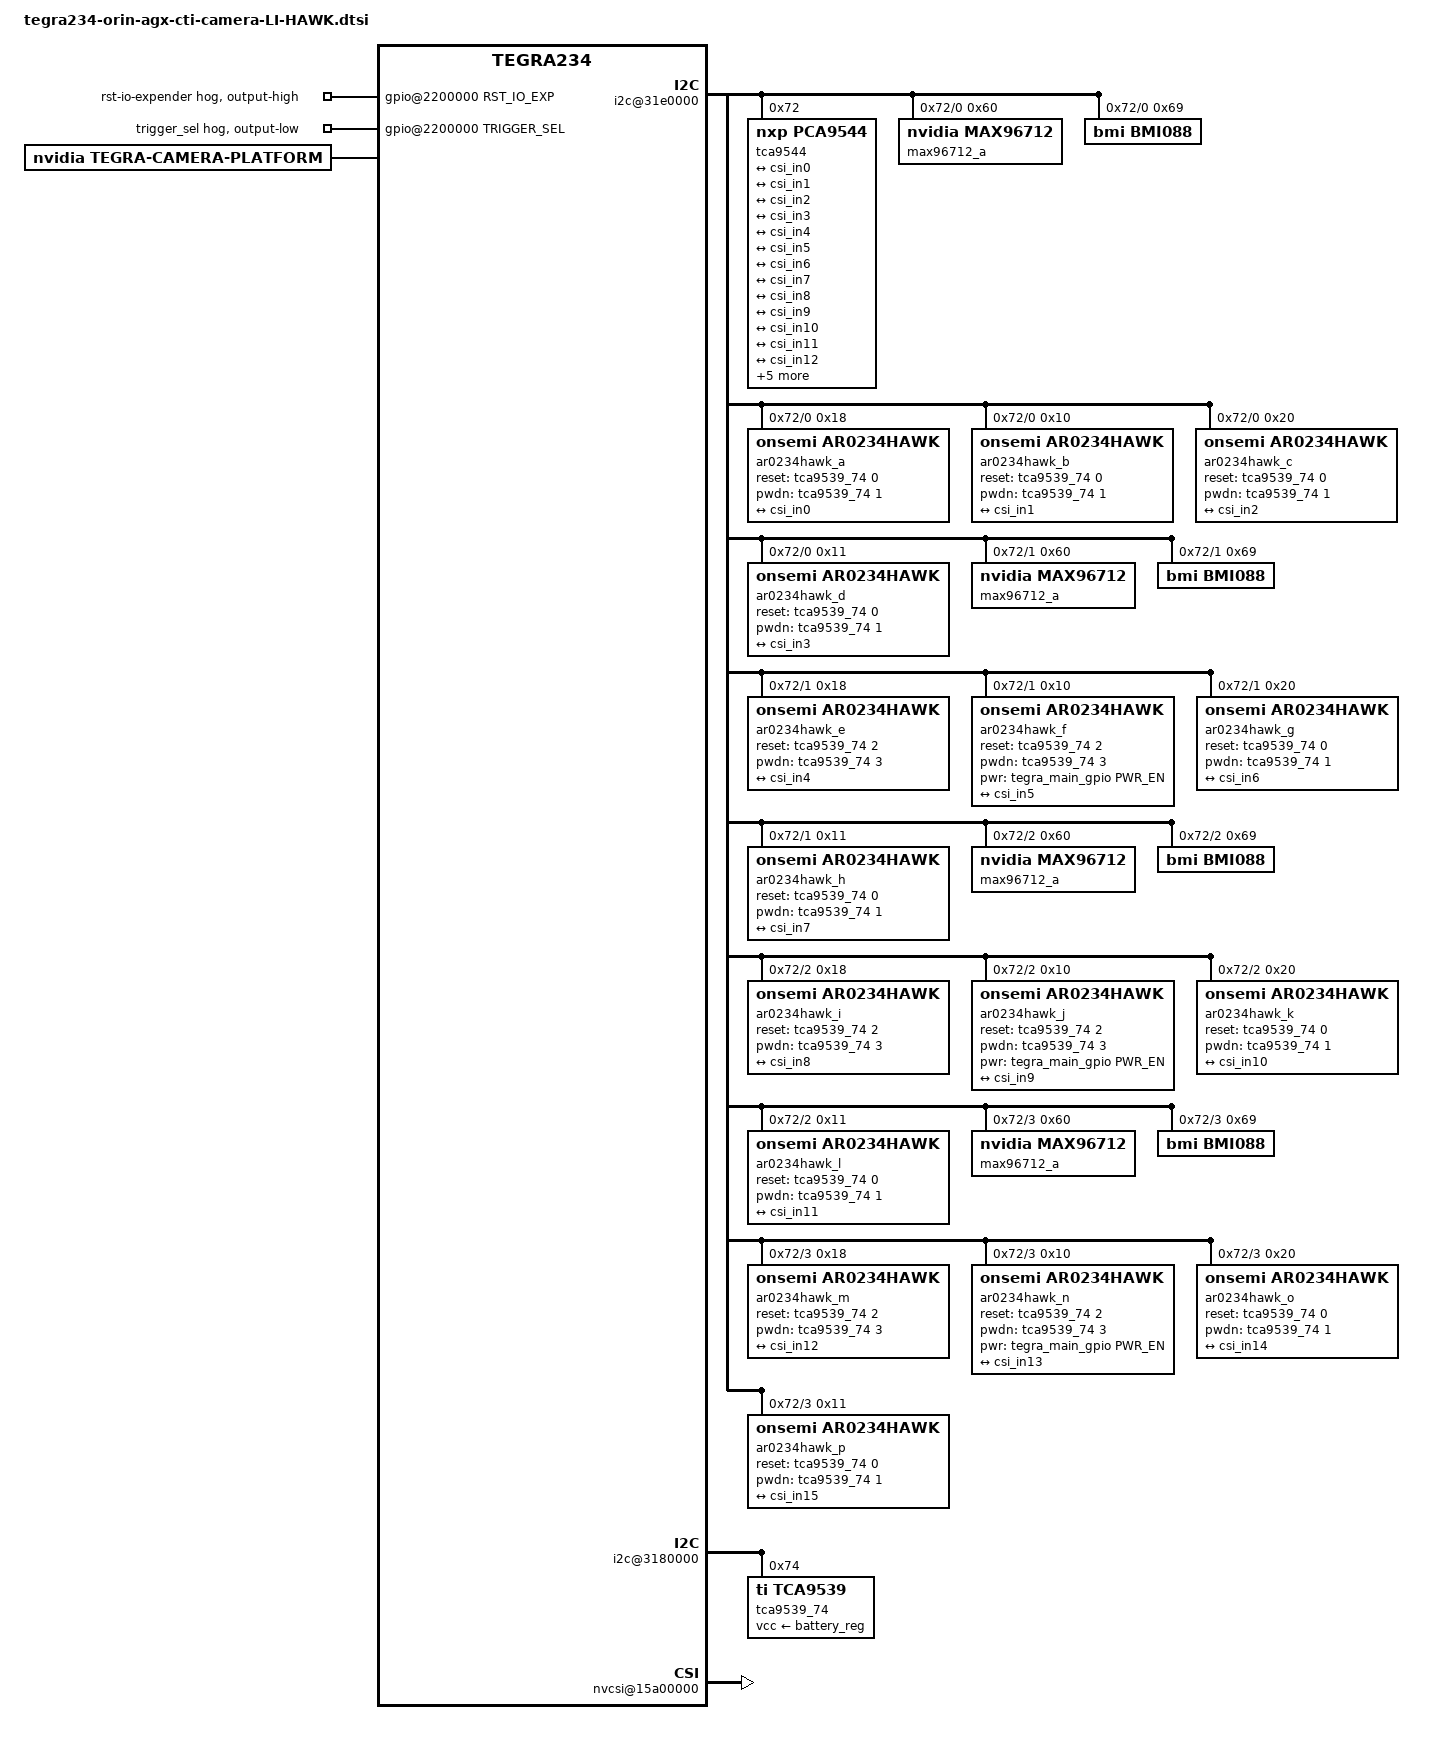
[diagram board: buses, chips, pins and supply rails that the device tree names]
/*
 * Copyright (c) 2022, Connect Tech Inc.  All rights reserved.
 *
 * This program is free software; you can redistribute it and/or modify it
 * under the terms and conditions of the GNU General Public License,
 * version 2, as published by the Free Software Foundation.
 *
 * This program is distributed in the hope it will be useful, but WITHOUT
 * ANY WARRANTY; without even the implied warranty of MERCHANTABILITY or
 * FITNESS FOR A PARTICULAR PURPOSE.  See the GNU General Public License for
 * more details.
 *
 * You should have received a copy of the GNU General Public License
 * along with this program.  If not, see <http://www.gnu.org/licenses/>.
 */

//#include "tegra234-orin-agx-cti-csi.dtsi"
#include "dt-bindings/clock/tegra234-clock.h"

#define RST_IO_EXP TEGRA234_MAIN_GPIO(AC,1)
#define PWM_CALIB_GPIO TEGRA234_MAIN_GPIO(H,7) //CAM0_PWDN
#define TRIGGER_SEL TEGRA234_MAIN_GPIO(I,0) //CAM0_RST
#define PWR_EN		TEGRA234_MAIN_GPIO(AC, 7)
#define CAM_LANES 4
#define CAM_LANES_STRING "4" 
#define TEGRA_SINTERFACE "serial_g"
#define MODE_VC "0"
#define SERDES_PIX_CLK_HZ "590000000"
#define PIX_CLK_HZ "90000000"
#include "tegra234-orin-agx-cti-camera-LI-HAWK-modes.dtsi"
//serdes_pix_clk_hz = "299000000"; //orig val

/ {

	gpio@2200000 {
		camera-control-output-high {
			status = "okay";
			gpio-hog;
			gpios = <RST_IO_EXP 0>;
			output-high;
			label = "rst-io-expender"; 
		};
		camera-control-output-low {
			status = "okay";
			gpio-hog;
			gpios = <TRIGGER_SEL 0>;
			output-low;
			label = "trigger_sel";
		};
	};

	

    i2c@31e0000 {
	status = "okay";
	#address-cells = <1>;
	#size-cells = <0>;
        tca9544@72 {
	    status = "okay";
	    compatible = "nxp,pca9544";
	    reg = <0x72>;
	    #address-cells = <1>;
	    #size-cells = <0>;
	    vcc-supply = <&vdd_1v8_sys>;
	    vcc-pullup-supply = <&battery_reg>;
	    vcc_lp = "vcc";
	    skip_mux_detect = "yes";
	    force_bus_start = <0x1e>;
            i2c@0 {
                status = "okay";
		reg = <0>;
		i2c-mux,deselect-on-exit;
		#address-cells = <1>;
		#size-cells = <0>;

		max96712_a@60 { //just needs to exist for the reg r/w
			compatible = "nvidia,max96712";
			reg = <0x60>;
			channel = "a";
			//status = "okay";
		};

		bmi088@69 {
			compatible = "bmi,bmi088";
			reg = <0x69>;
			status = "okay";
			accel_i2c_addr = <0x19>;
			accel_matrix = [01 00 00 00 01 00 00 00 01];
			gyro_matrix = [01 00 00 00 01 00 00 00 01];
		};
	
		ar0234hawk_a@18 {
			status = "okay";
			compatible = "onsemi,ar0234hawk";
			devnode = "video0";
			reg = <0x18>;
			def-addr = <0x18>;
			clocks = <&bpmp_clks TEGRA234_CLK_EXTPERIPH1>,<&bpmp_clks TEGRA234_CLK_EXTPERIPH1>;
			clock-names = "extperiph1", "pllp_grtba";
			mclk = "extperiph1";
			channel = "a";
			link = "a";
			has-eeprom;
			reset-gpios = <&tca9539_74 0 GPIO_ACTIVE_HIGH>;
			pwdn-gpios = <&tca9539_74 1 GPIO_ACTIVE_HIGH>;
            master-mode = <0>; //hardware trigger by default 0=trigger-mode 1=master-mode
			physical_w = "15.0";
			physical_h = "12.5";
			sensor_model = "ar0234hawk";
			sync_sensor = "HAWK1";
			sync_sensor_index = <1>;
			reg_mux = <0>;	
			post_crop_frame_drop = "0";
			use_sensor_mode_id = "true";
			LI_HAWK_10FPS		
				
			ports {
				#address-cells = <1>;
				#size-cells = <0>;
				port@0 {
					reg = <0>;
					cam_out0: endpoint {
						vc-id = <0>;
						port-index = <6>;
						bus-width = <CAM_LANES>;
						remote-endpoint = <&csi_in0>;
					};
				};
			};	

		};

		ar0234hawk_b@10 {
			compatible = "onsemi,ar0234hawk";
			devnode = "video1"; 
			reg = <0x10>;
			status = "okay";
			def-addr = <0x10>;
			clocks = <&bpmp_clks TEGRA234_CLK_EXTPERIPH1>,<&bpmp_clks TEGRA234_CLK_EXTPERIPH1>;
			clock-names = "extperiph1","pllp_grtba";
			mclk = "extperiph1";
			channel = "n";
			link = "a";
			has-eeprom;
			reset-gpios = <&tca9539_74 0 GPIO_ACTIVE_HIGH>;
			pwdn-gpios = <&tca9539_74 1 GPIO_ACTIVE_HIGH>;
			master-mode = <0>; //hardware trigger by default 0=trigger-mode 1=master-mode
            physical_w = "15.0";
			physical_h = "12.5";
			sensor_model = "ar0234hawk";
			sync_sensor = "HAWK1";
			sync_sensor_index = <2>;
			post_crop_frame_drop = "0";
			use_sensor_mode_id = "true";
//#undef TEGRA_SINTERFACE
//#define TEGRA_SINTERFACE "serial_g"
#undef MODE_VC
#define MODE_VC "1"
			LI_HAWK_10FPS	
		
			ports {
				#address-cells = <1>;
				#size-cells = <0>;
				port@0 {
					reg = <0>;
					cam_out1: endpoint {
						vc-id = <1>;
						port-index = <6>;
						bus-width = <CAM_LANES>;
						remote-endpoint = <&csi_in1>;
					};
				};
			};	
		};
	        ar0234hawk_c@20 {
			status = "okay";
			compatible = "onsemi,ar0234hawk";
			devnode = "video2";
			reg = <0x20>;
			def-addr = <0x20>;
			clocks = <&bpmp_clks TEGRA234_CLK_EXTPERIPH1>,<&bpmp_clks TEGRA234_CLK_EXTPERIPH1>;
			clock-names = "extperiph1", "pllp_grtba";
			mclk = "extperiph1";
			channel = "a";
			link = "b";
			//has-eeprom;
			reset-gpios = <&tca9539_74 0 GPIO_ACTIVE_HIGH>;
			pwdn-gpios = <&tca9539_74 1 GPIO_ACTIVE_HIGH>;
            master-mode = <0>; //hardware trigger by default 0=trigger-mode 1=master-mode
			physical_w = "15.0";
			physical_h = "12.5";
			sensor_model = "ar0234hawk";
			sync_sensor = "HAWK1";
			sync_sensor_index = <1>;
			reg_mux = <0>;	
			post_crop_frame_drop = "0";
			use_sensor_mode_id = "true";
#undef MODE_VC
#define MODE_VC "2"
			LI_HAWK_10FPS		
				
			ports {
				#address-cells = <1>;
				#size-cells = <0>;
				port@0 {
					reg = <0>;
					cam_out2: endpoint {
						vc-id = <2>;
						port-index = <6>;
						bus-width = <CAM_LANES>;
						remote-endpoint = <&csi_in2>;
					};
				};
			};	

		};

		ar0234hawk_d@11 {
			compatible = "onsemi,ar0234hawk";
			devnode = "video3"; 
			reg = <0x11>;
			status = "okay";
			def-addr = <0x11>;
			clocks = <&bpmp_clks TEGRA234_CLK_EXTPERIPH1>,<&bpmp_clks TEGRA234_CLK_EXTPERIPH1>;
			clock-names = "extperiph1","pllp_grtba";
			mclk = "extperiph1";
			channel = "n";
			link = "b";
			//has-eeprom;
			reset-gpios = <&tca9539_74 0 GPIO_ACTIVE_HIGH>;
			pwdn-gpios = <&tca9539_74 1 GPIO_ACTIVE_HIGH>;
			master-mode = <0>; //hardware trigger by default 0=trigger-mode 1=master-mode
            physical_w = "15.0";
			physical_h = "12.5";
			sensor_model = "ar0234hawk";
			sync_sensor = "HAWK1";
			sync_sensor_index = <1>;
			post_crop_frame_drop = "0";
			use_sensor_mode_id = "true";
//#undef TEGRA_SINTERFACE
//#define TEGRA_SINTERFACE "serial_g"
#undef MODE_VC
#define MODE_VC "3"
			LI_HAWK_10FPS	
		
			ports {
				#address-cells = <1>;
				#size-cells = <0>;
				port@0 {
					reg = <0>;
					cam_out3: endpoint {
						vc-id = <3>;
						port-index = <6>;
						bus-width = <CAM_LANES>;
						remote-endpoint = <&csi_in3>;
					};
				};
			};	
		};
            };

	    i2c@1 {
		status = "okay";
		reg = <1>;
		i2c-mux,deselect-on-exit;
		#address-cells = <1>;
		#size-cells = <0>;
		
		max96712_a@60 {
			compatible = "nvidia,max96712";
			reg = <0x60>;
			channel = "a";
			status = "okay";
		};


		bmi088@69 {
			compatible = "bmi,bmi088";
			reg = <0x69>;
			status = "okay";
			accel_i2c_addr = <0x19>;
			accel_matrix = [01 00 00 00 01 00 00 00 01];
			gyro_matrix = [01 00 00 00 01 00 00 00 01];
			//accelerometer_irq_gpio = //figure out later
		};
	
		ar0234hawk_e@18 {
			status = "okay";
			compatible = "onsemi,ar0234hawk";
			devnode = "video4";
			reg = <0x18>;
			reg_mux = <0>;
			def-addr = <0x18>;
			clocks = <&bpmp_clks TEGRA234_CLK_EXTPERIPH1>,<&bpmp_clks TEGRA234_CLK_EXTPERIPH1>;
			clock-names = "extperiph1", "pllp_grtba";
			mclk = "extperiph1";
			channel = "a";
			link = "a";
			has-eeprom;
			reset-gpios = <&tca9539_74 2 GPIO_ACTIVE_HIGH>;
			pwdn-gpios = <&tca9539_74 3 GPIO_ACTIVE_HIGH>;
            master-mode = <0>; //hardware trigger by default 0=trigger-mode 1=master-mode
			physical_w = "15.0";
			physical_h = "12.5";
			sensor_model = "ar0234hawk";
			sync_sensor = "HAWK1";
			sync_sensor_index = <1>;

			post_crop_frame_drop = "0";
			use_sensor_mode_id = "true";
#undef TEGRA_SINTERFACE
#define TEGRA_SINTERFACE "serial_e"
#undef MODE_VC
#define MODE_VC "0"	

			LI_HAWK_10FPS
	
			ports {
				#address-cells = <1>;
				#size-cells = <0>;
				port@0 {
					reg = <0>;
					cam_out4: endpoint {
						vc-id = <0>;
						port-index = <4>;
						bus-width = <CAM_LANES>;
						remote-endpoint = <&csi_in4>;
					};
				};
			};	

		};

		ar0234hawk_f@10 {
			compatible = "onsemi,ar0234hawk";
			devnode = "video5";
			reg = <0x10>;
			status = "okay";

			def-addr = <0x10>;
			clocks = <&bpmp_clks TEGRA234_CLK_EXTPERIPH1>,<&bpmp_clks TEGRA234_CLK_EXTPERIPH1>;
			clock-names = "extperiph1","pllp_grtba";
			mclk = "extperiph1";
			link = "a";
			channel = "n";
			has-eeprom;
			reset-gpios = <&tca9539_74 2 GPIO_ACTIVE_HIGH>;
			pwdn-gpios = <&tca9539_74 3 GPIO_ACTIVE_HIGH>;
            master-mode = <0>; //hardware trigger by default 0=trigger-mode 1=master-mode
			pwr-gpios = <&tegra_main_gpio PWR_EN GPIO_ACTIVE_HIGH>;
			physical_w = "15.0";
			physical_h = "12.5";
			sensor_model = "ar0234hawk";
			sync_sensor = "HAWK1";
			sync_sensor_index = <2>;
			post_crop_frame_drop = "0";
			use_sensor_mode_id = "true";
#undef MODE_VC
#define MODE_VC "1"
			LI_HAWK_10FPS
		
			ports {
				#address-cells = <1>;
				#size-cells = <0>;
				port@0 {
					reg = <0>;
					cam_out5: endpoint {
						vc-id = <1>;
						port-index = <4>;
						bus-width = <CAM_LANES>;
						remote-endpoint = <&csi_in5>;
					};
				};
			};	
		};
	        ar0234hawk_g@20 {
			status = "okay";
			compatible = "onsemi,ar0234hawk";
			devnode = "video6";
			reg = <0x20>;
			def-addr = <0x20>;
			clocks = <&bpmp_clks TEGRA234_CLK_EXTPERIPH1>,<&bpmp_clks TEGRA234_CLK_EXTPERIPH1>;
			clock-names = "extperiph1", "pllp_grtba";
			mclk = "extperiph1";
			channel = "a";
			link = "b";
			//has-eeprom;
			reset-gpios = <&tca9539_74 0 GPIO_ACTIVE_HIGH>;
			pwdn-gpios = <&tca9539_74 1 GPIO_ACTIVE_HIGH>;
            master-mode = <0>; //hardware trigger by default 0=trigger-mode 1=master-mode
			physical_w = "15.0";
			physical_h = "12.5";
			sensor_model = "ar0234hawk";
			sync_sensor = "HAWK1";
			sync_sensor_index = <1>;
			reg_mux = <0>;	
			post_crop_frame_drop = "0";
			use_sensor_mode_id = "true";
#undef MODE_VC
#define MODE_VC "2"
			LI_HAWK_10FPS		
				
			ports {
				#address-cells = <1>;
				#size-cells = <0>;
				port@0 {
					reg = <0>;
					cam_out6: endpoint {
						vc-id = <2>;
						port-index = <4>;
						bus-width = <CAM_LANES>;
						remote-endpoint = <&csi_in6>;
					};
				};
			};	

		};

		ar0234hawk_h@11 {
			compatible = "onsemi,ar0234hawk";
			devnode = "video7"; 
			reg = <0x11>;
			status = "okay";
			def-addr = <0x11>;
			clocks = <&bpmp_clks TEGRA234_CLK_EXTPERIPH1>,<&bpmp_clks TEGRA234_CLK_EXTPERIPH1>;
			clock-names = "extperiph1","pllp_grtba";
			mclk = "extperiph1";
			channel = "n";
			link = "b";
			//has-eeprom;
			reset-gpios = <&tca9539_74 0 GPIO_ACTIVE_HIGH>;
			pwdn-gpios = <&tca9539_74 1 GPIO_ACTIVE_HIGH>;
			//pwr-gpios = <&tegra_main_gpio PWR_EN GPIO_ACTIVE_HIGH>;
			physical_w = "15.0";
			physical_h = "12.5";
			sensor_model = "ar0234hawk";
			sync_sensor = "HAWK1";
			sync_sensor_index = <2>;
			post_crop_frame_drop = "0";
			use_sensor_mode_id = "true";
            master-mode = <0>; //hardware trigger by default 0=trigger-mode 1=master-mode
//#undef TEGRA_SINTERFACE
//#define TEGRA_SINTERFACE "serial_g"
#undef MODE_VC
#define MODE_VC "3"
			LI_HAWK_10FPS	
		
			ports {
				#address-cells = <1>;
				#size-cells = <0>;
				port@0 {
					reg = <0>;
					cam_out7: endpoint {
						vc-id = <3>;
						port-index = <4>;
						bus-width = <CAM_LANES>;
						remote-endpoint = <&csi_in7>;
					};
				};
			};	
		};
	    };


            i2c@2 {
                status = "okay";
                reg = <2>;
		i2c-mux,deselect-on-exit;
		#address-cells = <1>;
		#size-cells = <0>;
		
		max96712_a@60 {
			compatible = "nvidia,max96712";
			reg = <0x60>;
			channel = "a";
			status = "okay";
		};

		bmi088@69 {
			compatible = "bmi,bmi088";
			reg = <0x69>;
			status = "okay";
			accel_i2c_addr = <0x19>;
			accel_matrix = [01 00 00 00 01 00 00 00 01];
			gyro_matrix = [01 00 00 00 01 00 00 00 01];
			//accelerometer_irq_gpio = //figure out later
		};


		ar0234hawk_i@18 {
			status = "okay";
			compatible = "onsemi,ar0234hawk";
			devnode = "video8";
			reg = <0x18>;
			reg_mux = <0>;
			def-addr = <0x18>;
			clocks = <&bpmp_clks TEGRA234_CLK_EXTPERIPH1>,<&bpmp_clks TEGRA234_CLK_EXTPERIPH1>;
			clock-names = "extperiph1", "pllp_grtba";
			mclk = "extperiph1";
			channel = "a";
			link = "a";
			has-eeprom;
			reset-gpios = <&tca9539_74 2 GPIO_ACTIVE_HIGH>;
			pwdn-gpios = <&tca9539_74 3 GPIO_ACTIVE_HIGH>;
            master-mode = <0>; //hardware trigger by default 0=trigger-mode 1=master-mode

			physical_w = "15.0";
			physical_h = "12.5";
			sensor_model = "ar0234hawk";
			sync_sensor = "HAWK1";
			sync_sensor_index = <1>;

			post_crop_frame_drop = "0";
			use_sensor_mode_id = "true";
#undef TEGRA_SINTERFACE
#define TEGRA_SINTERFACE "serial_c"
#undef MODE_VC
#define MODE_VC "0"	

			LI_HAWK_10FPS
	
			ports {
				#address-cells = <1>;
				#size-cells = <0>;
				port@0 {
					reg = <0>;
					cam_out8: endpoint {
						vc-id = <0>;
						port-index = <2>;
						bus-width = <CAM_LANES>;
						remote-endpoint = <&csi_in8>;
					};
				};
			};	

		};

		ar0234hawk_j@10 {
			compatible = "onsemi,ar0234hawk";
			devnode = "video9";
			reg = <0x10>;
			status = "okay";

			def-addr = <0x10>;
			clocks = <&bpmp_clks TEGRA234_CLK_EXTPERIPH1>,<&bpmp_clks TEGRA234_CLK_EXTPERIPH1>;
			clock-names = "extperiph1","pllp_grtba";
			mclk = "extperiph1";
			link = "a";
			channel = "n";
			has-eeprom;
			reset-gpios = <&tca9539_74 2 GPIO_ACTIVE_HIGH>;
			pwdn-gpios = <&tca9539_74 3 GPIO_ACTIVE_HIGH>;
			pwr-gpios = <&tegra_main_gpio PWR_EN GPIO_ACTIVE_HIGH>;
            master-mode = <0>; //hardware trigger by default 0=trigger-mode 1=master-mode
			physical_w = "15.0";
			physical_h = "12.5";
			sensor_model = "ar0234hawk";
			sync_sensor = "HAWK1";
			sync_sensor_index = <2>;
			post_crop_frame_drop = "0";
			use_sensor_mode_id = "true";
#undef MODE_VC
#define MODE_VC "1"
			LI_HAWK_10FPS
		
			ports {
				#address-cells = <1>;
				#size-cells = <0>;
				port@0 {
					reg = <0>;
					cam_out9: endpoint {
						vc-id = <1>;
						port-index = <2>;
						bus-width = <CAM_LANES>;
						remote-endpoint = <&csi_in9>;
					};
				};
			};	
		};
	        ar0234hawk_k@20 {
			status = "okay";
			compatible = "onsemi,ar0234hawk";
			devnode = "video10";
			reg = <0x20>;
			def-addr = <0x20>;
			clocks = <&bpmp_clks TEGRA234_CLK_EXTPERIPH1>,<&bpmp_clks TEGRA234_CLK_EXTPERIPH1>;
			clock-names = "extperiph1", "pllp_grtba";
			mclk = "extperiph1";
			channel = "a";
			link = "b";
			//has-eeprom;
			reset-gpios = <&tca9539_74 0 GPIO_ACTIVE_HIGH>;
			pwdn-gpios = <&tca9539_74 1 GPIO_ACTIVE_HIGH>;
            master-mode = <0>; //hardware trigger by default 0=trigger-mode 1=master-mode

			physical_w = "15.0";
			physical_h = "12.5";
			sensor_model = "ar0234hawk";
			sync_sensor = "HAWK1";
			sync_sensor_index = <1>;
			reg_mux = <0>;	
			post_crop_frame_drop = "0";
			use_sensor_mode_id = "true";
#undef MODE_VC
#define MODE_VC "2"
			LI_HAWK_10FPS		
				
			ports {
				#address-cells = <1>;
				#size-cells = <0>;
				port@0 {
					reg = <0>;
					cam_out10: endpoint {
						vc-id = <2>;
						port-index = <2>;
						bus-width = <CAM_LANES>;
						remote-endpoint = <&csi_in10>;
					};
				};
			};	

		};

		ar0234hawk_l@11 {
			compatible = "onsemi,ar0234hawk";
			devnode = "video11"; 
			reg = <0x11>;
			status = "okay";
			def-addr = <0x11>;
			clocks = <&bpmp_clks TEGRA234_CLK_EXTPERIPH1>,<&bpmp_clks TEGRA234_CLK_EXTPERIPH1>;
			clock-names = "extperiph1","pllp_grtba";
			mclk = "extperiph1";
			channel = "n";
			link = "b";
			//has-eeprom;
			reset-gpios = <&tca9539_74 0 GPIO_ACTIVE_HIGH>;
			pwdn-gpios = <&tca9539_74 1 GPIO_ACTIVE_HIGH>;
			//pwr-gpios = <&tegra_main_gpio PWR_EN GPIO_ACTIVE_HIGH>;
            master-mode = <0>; //hardware trigger by default 0=trigger-mode 1=master-mode
			physical_w = "15.0";
			physical_h = "12.5";
			sensor_model = "ar0234hawk";
			sync_sensor = "HAWK1";
			sync_sensor_index = <2>;
			post_crop_frame_drop = "0";
			use_sensor_mode_id = "true";
//#undef TEGRA_SINTERFACE
//#define TEGRA_SINTERFACE "serial_g"
#undef MODE_VC
#define MODE_VC "3"
			LI_HAWK_10FPS	
		
			ports {
				#address-cells = <1>;
				#size-cells = <0>;
				port@0 {
					reg = <0>;
					cam_out11: endpoint {
						vc-id = <3>;
						port-index = <2>;
						bus-width = <CAM_LANES>;
						remote-endpoint = <&csi_in11>;
					};
				};
			};	
		};
            };
                
            i2c@3 {
                status = "okay";
		reg = <3>;
		i2c-mux,deselect-on-exit;
		#address-cells = <1>;
		#size-cells = <0>;
				

		max96712_a@60 {
			compatible = "nvidia,max96712";
			reg = <0x60>;
			channel = "a";
			status = "okay";
		};


		bmi088@69 {
			compatible = "bmi,bmi088";
			reg = <0x69>;
			status = "okay";
			accel_i2c_addr = <0x19>;
			accel_matrix = [01 00 00 00 01 00 00 00 01];
			gyro_matrix = [01 00 00 00 01 00 00 00 01];
			//accelerometer_irq_gpio = //figure out later
		};
		ar0234hawk_m@18 {
			status = "okay";
			compatible = "onsemi,ar0234hawk";
			devnode = "video12";
			reg = <0x18>;
			reg_mux = <0>;
			def-addr = <0x18>;
			clocks = <&bpmp_clks TEGRA234_CLK_EXTPERIPH1>,<&bpmp_clks TEGRA234_CLK_EXTPERIPH1>;
			clock-names = "extperiph1", "pllp_grtba";
			mclk = "extperiph1";
			channel = "a";
			link = "a";
			has-eeprom;
			reset-gpios = <&tca9539_74 2 GPIO_ACTIVE_HIGH>;
			pwdn-gpios = <&tca9539_74 3 GPIO_ACTIVE_HIGH>;
            master-mode = <0>; //hardware trigger by default 0=trigger-mode 1=master-mode

			physical_w = "15.0";
			physical_h = "12.5";
			sensor_model = "ar0234hawk";
			sync_sensor = "HAWK1";
			sync_sensor_index = <1>;

			post_crop_frame_drop = "0";
			use_sensor_mode_id = "true";
#undef TEGRA_SINTERFACE
#define TEGRA_SINTERFACE "serial_a"
#undef MODE_VC
#define MODE_VC "0"	

			LI_HAWK_10FPS
	
			ports {
				#address-cells = <1>;
				#size-cells = <0>;
				port@0 {
					reg = <0>;
					cam_out12: endpoint {
						vc-id = <0>;
						port-index = <0>;
						bus-width = <CAM_LANES>;
						remote-endpoint = <&csi_in12>;
					};
				};
			};	

		};

		ar0234hawk_n@10 {
			compatible = "onsemi,ar0234hawk";
			devnode = "video13";
			reg = <0x10>;
			status = "okay";

			def-addr = <0x10>;
			clocks = <&bpmp_clks TEGRA234_CLK_EXTPERIPH1>,<&bpmp_clks TEGRA234_CLK_EXTPERIPH1>;
			clock-names = "extperiph1","pllp_grtba";
			mclk = "extperiph1";
			link = "a";
			channel = "n";
			has-eeprom;
            master-mode = <0>; //hardware trigger by default 0=trigger-mode 1=master-mode
			reset-gpios = <&tca9539_74 2 GPIO_ACTIVE_HIGH>;
			pwdn-gpios = <&tca9539_74 3 GPIO_ACTIVE_HIGH>;
			pwr-gpios = <&tegra_main_gpio PWR_EN GPIO_ACTIVE_HIGH>;
			physical_w = "15.0";
			physical_h = "12.5";
			sensor_model = "ar0234hawk";
			sync_sensor = "HAWK1";
			sync_sensor_index = <2>;
			post_crop_frame_drop = "0";
			use_sensor_mode_id = "true";
#undef MODE_VC
#define MODE_VC "1"
			LI_HAWK_10FPS
		
			ports {
				#address-cells = <1>;
				#size-cells = <0>;
				port@0 {
					reg = <0>;
					cam_out13: endpoint {
						vc-id = <1>;
						port-index = <0>;
						bus-width = <CAM_LANES>;
						remote-endpoint = <&csi_in13>;
					};
				};
			};	
		};
	
		ar0234hawk_o@20 {
			status = "okay";
			compatible = "onsemi,ar0234hawk";
			devnode = "video14";
			reg = <0x20>;
			def-addr = <0x20>;
			clocks = <&bpmp_clks TEGRA234_CLK_EXTPERIPH1>,<&bpmp_clks TEGRA234_CLK_EXTPERIPH1>;
			clock-names = "extperiph1", "pllp_grtba";
			mclk = "extperiph1";
			channel = "a";
			link = "b";
			//has-eeprom;
			reset-gpios = <&tca9539_74 0 GPIO_ACTIVE_HIGH>;
			pwdn-gpios = <&tca9539_74 1 GPIO_ACTIVE_HIGH>;
            master-mode = <0>; //hardware trigger by default 0=trigger-mode 1=master-mode

			physical_w = "15.0";
			physical_h = "12.5";
			sensor_model = "ar0234hawk";
			sync_sensor = "HAWK1";
			sync_sensor_index = <1>;
			reg_mux = <0>;	
			post_crop_frame_drop = "0";
			use_sensor_mode_id = "true";
#undef MODE_VC
#define MODE_VC "2"
			LI_HAWK_10FPS		
				
			ports {
				#address-cells = <1>;
				#size-cells = <0>;
				port@0 {
					reg = <0>;
					cam_out14: endpoint {
						vc-id = <2>;
						port-index = <0>;
						bus-width = <CAM_LANES>;
						remote-endpoint = <&csi_in14>;
					};
				};
			};	

		};

		ar0234hawk_p@11 {
			compatible = "onsemi,ar0234hawk";
			devnode = "video15"; 
			reg = <0x11>;
			status = "okay";
			def-addr = <0x11>;
			clocks = <&bpmp_clks TEGRA234_CLK_EXTPERIPH1>,<&bpmp_clks TEGRA234_CLK_EXTPERIPH1>;
			clock-names = "extperiph1","pllp_grtba";
			mclk = "extperiph1";
			channel = "n";
			link = "b";
			//has-eeprom;
			reset-gpios = <&tca9539_74 0 GPIO_ACTIVE_HIGH>;
			pwdn-gpios = <&tca9539_74 1 GPIO_ACTIVE_HIGH>;
            master-mode = <0>; //hardware trigger by default 0=trigger-mode 1=master-mode
			//pwr-gpios = <&tegra_main_gpio PWR_EN GPIO_ACTIVE_HIGH>;
			physical_w = "15.0";
			physical_h = "12.5";
			sensor_model = "ar0234hawk";
			sync_sensor = "HAWK1";
			sync_sensor_index = <2>;
			post_crop_frame_drop = "0";
			use_sensor_mode_id = "true";
//#undef TEGRA_SINTERFACE
//#define TEGRA_SINTERFACE "serial_g"
#undef MODE_VC
#define MODE_VC "3"
			LI_HAWK_10FPS	
		
			ports {
				#address-cells = <1>;
				#size-cells = <0>;
				port@0 {
					reg = <0>;
					cam_out15: endpoint {
						vc-id = <3>;
						port-index = <0>;
						bus-width = <CAM_LANES>;
						remote-endpoint = <&csi_in15>;
					};
				};
			};	
		};
	
            };
        };
    };

    i2c@3180000 {
		status = "okay";
		#address-cells = <1>;
		#size-cells = <0>;
		tca9539_74: tca9539@74 {
			compatible = "ti,tca9539";
			gpio-controller;
			#gpio-cells = <2>;
			ngpios = <16>;
			reg = <0x74>;
			vcc-supply = <&battery_reg>;
			status = "okay";
			
			tca9539_74_outlow {
				status = "okay";
				gpio-hog;
				gpios = <0 0 1 0 2 0 3 0 4 0 5 0 6 0 7 0 8 0 9 0 10 0 11 0 12 0 13 0>;
				output-low;
				label = "RST_A","PWDN_A","RST_B","PWDN_B","RST_C","PWDN_C","RST_D","PWDN_D";
			};
			tca9539_74_outhigh {
				status = "disabled";
			};
			tca9539_74_input {
				status = "disabled";
			};
		};
	};
    tegra-capture-vi {
        status = "okay";
        num-channels = <16>;
        ports {
	    #address-cells = <1>;
	    #size-cells = <0>;
	    status = "okay";
            port@0 {
		reg = <0>;
                status = "okay";
                vi_in0: endpoint {
		    vc-id = <0>;
                    port-index = <5>;
                    status = "okay";
                    bus-width = <CAM_LANES>;
		    remote-endpoint = <&csi_out0>;
                };
            };
            port@1 {
                status = "okay";
		reg = <1>;
                vi_in1: endpoint {
		    vc-id = <1>;
                    port-index = <5>;
                    status = "okay";
                    bus-width = <CAM_LANES>;
		    remote-endpoint = <&csi_out1>;
                };
            };
	    port@2 {
		status = "okay";
		reg = <2>;
		vi_in2: endpoint {
			vc-id = <2>;
			port-index = <5>;
			bus-width = <CAM_LANES>;
			remote-endpoint = <&csi_out2>;
			status = "okay";
		};
	    };
	    port@3{
		status = "okay";
		reg = <3>;
		vi_in3: endpoint {
			vc-id = <3>;
			port-index = <5>;
			bus-width = <CAM_LANES>;
			remote-endpoint = <&csi_out3>;
			status = "okay";
		};
	    };
	    port@4 {
		status = "okay";
		reg = <4>;
		vi_in4: endpoint {
			vc-id = <0>;
			port-index = <4>;
			bus-width = <CAM_LANES>;
			remote-endpoint = <&csi_out4>;
			status = "okay";
		};
	    };
	    port@5 {
		status = "okay";
		reg = <5>;
		vi_in5: endpoint {
			vc-id = <1>;
			port-index = <4>;
			bus-width = <CAM_LANES>;
			remote-endpoint = <&csi_out5>;
			status = "okay";
		};
	    };
            port@6 {
                status = "okay";
		reg = <6>;
                vi_in6: endpoint {
                    port-index = <4>;
                    status = "okay";
                    bus-width = <CAM_LANES>;
		    vc-id = <2>;
		    remote-endpoint = <&csi_out6>;
                };
            };
            port@7 {
                status = "okay";
		reg = <7>;
                vi_in7: endpoint {
                    port-index = <4>;
                    status = "okay";
                    bus-width = <CAM_LANES>;
		    vc-id = <3>;
		    remote-endpoint = <&csi_out7>;
                };
            };
	    port@8 {
		status = "okay";
		reg = <8>;
		vi_in8: endpoint {
			vc-id = <0>;
			port-index = <2>;
			bus-width = <CAM_LANES>;
			remote-endpoint = <&csi_out8>;
			status = "okay";
		};
	    };
	    port@9 {
		status = "okay";
		reg = <9>;
		vi_in9: endpoint {
			vc-id = <1>;
			port-index = <2>;
			bus-width = <CAM_LANES>;
			remote-endpoint = <&csi_out9>;
			status = "okay";
		};
	    };
            port@10 {
                status = "okay";
		reg = <10>;
                vi_in10: endpoint {
                    port-index = <2>;
                    status = "okay";
                    bus-width = <CAM_LANES>;
		    vc-id = <2>;
		    remote-endpoint = <&csi_out10>;
                };
            };
            port@11 {
                status = "okay";
		reg = <11>;
                vi_in11: endpoint {
                    port-index = <2>;
                    status = "okay";
                    bus-width = <CAM_LANES>;
		    vc-id = <3>;
		    remote-endpoint = <&csi_out11>;
                };
            };
	    port@12 {
		status = "okay";
		reg = <12>;
		vi_in12: endpoint {
			vc-id = <0>;
			port-index = <0>;
			bus-width = <CAM_LANES>;
			remote-endpoint = <&csi_out12>;
			status = "okay";
		};
	    };
	    port@13 {
		status = "okay";
		reg = <13>;
		vi_in13: endpoint {
			vc-id = <1>;
			port-index = <0>;
			bus-width = <CAM_LANES>;
			remote-endpoint = <&csi_out13>;
			status = "okay";
		};
	    };
            port@14 {
                status = "okay";
		reg = <14>;
                vi_in14: endpoint {
                    port-index = <0>;
                    status = "okay";
                    bus-width = <CAM_LANES>;
		    vc-id = <2>;
		    remote-endpoint = <&csi_out14>;
                };
            };
            port@15 {
                status = "okay";
		reg = <15>;
                vi_in15: endpoint {
                    port-index = <0>;
                    status = "okay";
                    bus-width = <CAM_LANES>;
		    vc-id = <3>;
		    remote-endpoint = <&csi_out15>;
                };
            };
        };
    };

    host1x@13e00000 {
        nvcsi@15a00000 {
	    num-channels = <16>;
	    #address-cells = <1>;
	    #size-cells = <0>;
            status = "okay";
            channel@0 {
                status = "okay";
		reg = <0>;
                ports {
		    #address-cells = <1>;
		    #size-cells = <0>;
                    port@0 {
                        status = "okay";
			reg = <0>;
                        csi_in0: endpoint@0 {
                            status = "okay";
                            port-index = <6>;
			    vc-id = <0>;
			    bus-width = <CAM_LANES>;
                            remote-endpoint = <&cam_out0>;
                        };
                    };
                    port@1 {
                        status = "okay";
			reg = <1>;
                        csi_out0: endpoint@1 {
                            status = "okay";
			    port-index = <6>;
			    vc-id = <0>;
			    bus-width = <CAM_LANES>;
			    remote-endpoint = <&vi_in0>;
                        };
                    };
                };
            };
            channel@1 {
                status = "okay";
		reg = <1>;
                ports {
		    #address-cells = <1>;
		    #size-cells = <0>;
                    
		    port@0 {
			reg = <0>;
                        status = "okay";
                        csi_in1: endpoint@2 {
                            status = "okay";
			    port-index = <6>;
			    vc-id = <1>;
                            bus-width = <CAM_LANES>;
                            remote-endpoint = <&cam_out1>;
                        };
                    };
                    port@1 {
                        status = "okay";
			reg = <1>;
                        csi_out1: endpoint@3 {
                            status = "okay";
			    port-index = <6>;
			    vc-id = <1>;
			    bus-width = <CAM_LANES>;
			    remote-endpoint = <&vi_in1>;
                        };
                    };
                };
            };
	    channel@2 {
                status = "okay";
		reg = <2>;
                ports {
		    #address-cells = <1>;
		    #size-cells = <0>;
                    port@0 {
                        status = "okay";
			reg = <0>;
                        csi_in2: endpoint@4 {
                            status = "okay";
                            port-index = <6>;
			    bus-width = <CAM_LANES>;
                            remote-endpoint = <&cam_out2>;
                        };
                    };
                    port@1 {
                        status = "okay";
			reg = <1>;
                        csi_out2: endpoint@5 {
                            status = "okay";
			    port-index = <6>;
			    bus-width = <CAM_LANES>;
			    remote-endpoint = <&vi_in2>;
                        };
                    };
                };
            };
            channel@3 {
                status = "okay";
		reg = <3>;
                ports {
		    #address-cells = <1>;
		    #size-cells = <0>;
                    
		    port@0 {
			reg = <0>;
                        status = "okay";
                        csi_in3: endpoint@6 {
                            status = "okay";
			    port-index = <6>;
                            bus-width = <CAM_LANES>;
                            remote-endpoint = <&cam_out3>;
                        };
                    };
                    port@1 {
                        status = "okay";
			reg = <1>;
                        csi_out3: endpoint@7 {
                            status = "okay";
			    port-index = <6>;
			    bus-width = <CAM_LANES>;
			    remote-endpoint = <&vi_in3>;
                        };
                    };
                };
            };
	    channel@4 {
                status = "okay";
		reg = <4>;
                ports {
		    #address-cells = <1>;
		    #size-cells = <0>;
                    port@0 {
                        status = "okay";
			reg = <0>;
                        csi_in4: endpoint@8 {
                            status = "okay";
                            port-index = <4>;
			    bus-width = <CAM_LANES>;
                            remote-endpoint = <&cam_out4>;
                        };
                    };
                    port@1 {
                        status = "okay";
			reg = <1>;
                        csi_out4: endpoint@9 {
                            status = "okay";
			    port-index = <4>;
			    bus-width = <CAM_LANES>;
			    remote-endpoint = <&vi_in4>;
                        };
                    };
                };
            };
            channel@5 {
                status = "okay";
		reg = <5>;
                ports {
		    #address-cells = <1>;
		    #size-cells = <0>;
                    
		    port@0 {
			reg = <0>;
                        status = "okay";
                        csi_in5: endpoint@10 {
                            status = "okay";
			    port-index = <4>;
                            bus-width = <CAM_LANES>;
                            remote-endpoint = <&cam_out5>;
                        };
                    };
                    port@1 {
                        status = "okay";
			reg = <1>;
                        csi_out5: endpoint@11 {
                            status = "okay";
			    port-index = <4>;
			    bus-width = <CAM_LANES>;
			    remote-endpoint = <&vi_in5>;
                        };
                    };
                };
            };

            channel@6 {
                status = "okay";
		reg = <6>;
                ports {
		    #address-cells = <1>;
		    #size-cells = <0>;
                    port@0 {
			reg = <0>;
                        status = "okay";
                        csi_in6: endpoint@12 {
                            status = "okay";
                            bus-width = <CAM_LANES>;
			    port-index = <4>;
			    remote-endpoint = <&cam_out6>;
                        };
                    };
                    port@1 {
                        status = "okay";
                        reg = <1>;
			csi_out6: endpoint@13 {
                            status = "okay";
			    remote-endpoint = <&vi_in6>;
                        };
                    };
                };
            };

            channel@7 {
                status = "okay";
		reg = <7>;
                ports {
		    #address-cells = <1>;
		    #size-cells = <0>;
                    port@0 {
			reg = <0>;
                        status = "okay";
                        csi_in7: endpoint@14 {
                            status = "okay";
                            bus-width = <CAM_LANES>;
			    port-index = <4>;
			    remote-endpoint = <&cam_out7>;
                        };
                    };
                    port@1 {
                        status = "okay";
			reg = <1>;
                        csi_out7: endpoint@15 {
                            status = "okay";
			    remote-endpoint = <&vi_in7>;
                        };
                    };
                };
            };
	    channel@8 {
                status = "okay";
		reg = <8>;
                ports {
		    #address-cells = <1>;
		    #size-cells = <0>;
                    port@0 {
                        status = "okay";
			reg = <0>;
                        csi_in8: endpoint@16 {
                            status = "okay";
                            port-index = <2>;
			    bus-width = <CAM_LANES>;
                            remote-endpoint = <&cam_out8>;
                        };
                    };
                    port@1 {
                        status = "okay";
			reg = <1>;
                        csi_out8: endpoint@17 {
                            status = "okay";
			    port-index = <2>;
			    bus-width = <CAM_LANES>;
			    remote-endpoint = <&vi_in8>;
                        };
                    };
                };
            };
            channel@9 {
                status = "okay";
		reg = <9>;
                ports {
		    #address-cells = <1>;
		    #size-cells = <0>;
                    
		    port@0 {
			reg = <0>;
                        status = "okay";
                        csi_in9: endpoint@18 {
                            status = "okay";
			    port-index = <2>;
                            bus-width = <CAM_LANES>;
                            remote-endpoint = <&cam_out9>;
                        };
                    };
                    port@1 {
                        status = "okay";
			reg = <1>;
                        csi_out9: endpoint@19 {
                            status = "okay";
			    port-index = <2>;
			    bus-width = <CAM_LANES>;
			    remote-endpoint = <&vi_in9>;
                        };
                    };
                };
            };

            channel@10 {
                status = "okay";
		reg = <10>;
                ports {
		    #address-cells = <1>;
		    #size-cells = <0>;
                    port@0 {
			reg = <0>;
                        status = "okay";
                        csi_in10: endpoint@20 {
                            status = "okay";
                            bus-width = <CAM_LANES>;
			    port-index = <2>;
			    remote-endpoint = <&cam_out10>;
                        };
                    };
                    port@1 {
                        status = "okay";
                        reg = <1>;
			csi_out10: endpoint@21 {
                            status = "okay";
			    remote-endpoint = <&vi_in10>;
                        };
                    };
                };
            };

            channel@11 {
                status = "okay";
		reg = <11>;
                ports {
		    #address-cells = <1>;
		    #size-cells = <0>;
                    port@0 {
			reg = <0>;
                        status = "okay";
                        csi_in11: endpoint@22 {
                            status = "okay";
                            bus-width = <CAM_LANES>;
			    port-index = <2>;
			    remote-endpoint = <&cam_out11>;
                        };
                    };
                    port@1 {
                        status = "okay";
			reg = <1>;
                        csi_out11: endpoint@23 {
                            status = "okay";
			    remote-endpoint = <&vi_in11>;
                        };
                    };
                };
            };
	    channel@12 {
                status = "okay";
		reg = <12>;
                ports {
		    #address-cells = <1>;
		    #size-cells = <0>;
                    port@0 {
                        status = "okay";
			reg = <0>;
                        csi_in12: endpoint@24 {
                            status = "okay";
                            port-index = <0>;
			    bus-width = <CAM_LANES>;
                            remote-endpoint = <&cam_out12>;
                        };
                    };
                    port@1 {
                        status = "okay";
			reg = <1>;
                        csi_out12: endpoint@25 {
                            status = "okay";
			    port-index = <0>;
			    bus-width = <CAM_LANES>;
			    remote-endpoint = <&vi_in13>;
                        };
                    };
                };
            };
            channel@13 {
                status = "okay";
		reg = <13>;
                ports {
		    #address-cells = <1>;
		    #size-cells = <0>;
                    
		    port@0 {
			reg = <0>;
                        status = "okay";
                        csi_in13: endpoint@26 {
                            status = "okay";
			    port-index = <0>;
                            bus-width = <CAM_LANES>;
                            remote-endpoint = <&cam_out13>;
                        };
                    };
                    port@1 {
                        status = "okay";
			reg = <1>;
                        csi_out13: endpoint@27 {
                            status = "okay";
			    port-index = <0>;
			    bus-width = <CAM_LANES>;
			    remote-endpoint = <&vi_in13>;
                        };
                    };
                };
            };

            channel@14 {
                status = "okay";
		reg = <14>;
                ports {
		    #address-cells = <1>;
		    #size-cells = <0>;
                    port@0 {
			reg = <0>;
                        status = "okay";
                        csi_in14: endpoint@28 {
                            status = "okay";
                            bus-width = <CAM_LANES>;
			    port-index = <0>;
			    remote-endpoint = <&cam_out14>;
                        };
                    };
                    port@1 {
                        status = "okay";
                        reg = <1>;
			csi_out14: endpoint@29 {
                            status = "okay";
			    remote-endpoint = <&vi_in14>;
                        };
                    };
                };
            };

            channel@15 {
                status = "okay";
		reg = <15>;
                ports {
		    #address-cells = <1>;
		    #size-cells = <0>;
                    port@0 {
			reg = <0>;
                        status = "okay";
                        csi_in15: endpoint@30 {
                            status = "okay";
                            bus-width = <CAM_LANES>;
			    port-index = <0>;
			    remote-endpoint = <&cam_out15>;
                        };
                    };
                    port@1 {
                        status = "okay";
			reg = <1>;
                        csi_out15: endpoint@31 {
                            status = "okay";
			    remote-endpoint = <&vi_in15>;
                        };
                    };
                };
            };
        };
    };


    tegra-camera-platform {
        num_csi_lanes = <16>;
        max_lane_speed = <4000000>;
        min_bits_per_pixel = <10>;
        vi_peak_byte_per_pixel = <2>;
        vi_bw_margin_pct = <25>;
	//max_pixel_rate = <750000>;
        isp_peak_byte_per_pixel = <5>;
        isp_bw_margin_pct = <25>;
	compatible = "nvidia, tegra-camera-platform";
	status = "okay";
        
	modules {
		status = "okay";
		module0 {
			status = "okay";
			badge = "ar0234hawk_bottomleft";
			position = "bottomleft";
			orientation = "1";
			drivernode0 {
				status = "okay";
				pcl_id = "v4l2_sensor";
				devname = "ar0234hawk 30-0018";
				proc-device-tree = "/proc/device-tree/i2c@31e0000/tca9544@72/i2c@0/ar0234hawk_a@18";
			};
			
		};
		module1 {
			status = "okay";
			badge = "ar0234hawk_bottomright";
			position = "bottomright";
			orientation = "1";
			drivernode0 {
				status = "okay";
				pcl_id = "v4l2_sensor";
				devname = "ar0234hawk 30-0010";
				proc-device-tree = "/proc/device-tree/i2c@31e0000/tca9544@72/i2c@0/ar0234hawk_b@10";	
			};
		};
		module2 {
			status = "okay";
			badge = "ar0234hawk_topleft";
			position = "topleft";
			orientation = "1";
			drivernode0 {
				status = "okay";
				pcl_id = "v4l2_sensor";
				devname = "ar0234hawk 30-0020";
				proc-device-tree = "/proc/device-tree/i2c@31e0000/tca9544@72/i2c@0/ar0234hawk_c@20";
			};
		};
		module3 {
			status = "okay";
			badge = "ar0234hawk_topright";
			position = "topright";
			orientation = "1";
			drivernode0 {
				status = "okay";
				pcl_id = "v4l2_sensor";
				devname = "ar0234hawk 30-0011";
				proc-device-tree = "/proc/device-tree/i2c@31e0000/tca9544@72/i2c@0/ar0234hawk_d@11";
			};
		};
		module4 {
			status = "okay";
			badge = "ar0234hawk_centerleft";
			position = "centerleft";
			orientation = "1";
			drivernode0 {
				status = "okay";
				pcl_id = "v4l2_sensor";
				devname = "ar0234hawk 31-0018";
				proc-device-tree = "/proc/device-tree/i2c@31e0000/tca9544@72/i2c@1/ar0234hawk_e@18";
			};
		};
		module5 {
			status = "okay";
			badge = "ar0234hawk_centerright";
			position = "centerright";
			orientation = "1";
			drivernode0 {
				status = "okay";
				pcl_id = "v4l2_sensor";
				devname = "ar0234hawk 31-0010";
				proc-device-tree = "/proc/device-tree/i2c@31e0000/tca9544@72/i2c@1/ar0234hawk_f@10";
			};
		};
		module6 {
			status = "okay";
			badge = "ar0234hawk_backleft";
			position = "backleft";
			orientation = "1";
			drivernode0 {
				status = "okay";
				pcl_id = "v4l2_sensor";
				devname = "ar0234hawk 31-0020";
				proc-device-tree = "/proc/device-tree/i2c@31e0000/tca9544@72/i2c@1/ar0234hawk_g@20";
			};
		};
		module7 {
			status = "okay";
			badge = "ar0234hawk_backright";
			position = "backright";
			orientation = "1";
			drivernode0 {
				status = "okay";
				pcl_id = "v4l2_sensor";
				devname = "ar0234hawk 31-0011";
				proc-device-tree = "/proc/device-tree/i2c@31e0000/tca9544@72/i2c@1/ar0234hawk_h@11";
			};
		};
		module8 {
			status = "okay";
			badge = "ar0234hawk_centerleft";
			position = "centerleft";
			orientation = "1";
			drivernode0 {
				status = "okay";
				pcl_id = "v4l2_sensor";
				devname = "ar0234hawk 32-0018";
				proc-device-tree = "/proc/device-tree/i2c@31e0000/tca9544@72/i2c@2/ar0234hawk_i@18";
			};
		};
		module9 {
			status = "okay";
			badge = "ar0234hawk_centerright";
			position = "centerright";
			orientation = "1";
			drivernode0 {
				status = "okay";
				pcl_id = "v4l2_sensor";
				devname = "ar0234hawk 32-0010";
				proc-device-tree = "/proc/device-tree/i2c@31e0000/tca9544@72/i2c@2/ar0234hawk_j@10";
			};
		};
		module10 {
			status = "okay";
			badge = "ar0234hawk_backleft";
			position = "backleft";
			orientation = "1";
			drivernode0 {
				status = "okay";
				pcl_id = "v4l2_sensor";
				devname = "ar0234hawk 32-0020";
				proc-device-tree = "/proc/device-tree/i2c@31e0000/tca9544@72/i2c@2/ar0234hawk_k@20";
			};
		};
		module11 {
			status = "okay";
			badge = "ar0234hawk_backright";
			position = "backright";
			orientation = "1";
			drivernode0 {
				status = "okay";
				pcl_id = "v4l2_sensor";
				devname = "ar0234hawk 32-0011";
				proc-device-tree = "/proc/device-tree/i2c@31e0000/tca9544@72/i2c@2/ar0234hawk_l@11";
			};
		};
		module12 {
			status = "okay";
			badge = "ar0234hawk_centerleft";
			position = "centerleft";
			orientation = "1";
			drivernode0 {
				status = "okay";
				pcl_id = "v4l2_sensor";
				devname = "ar0234hawk 33-0018";
				proc-device-tree = "/proc/device-tree/i2c@31e0000/tca9544@72/i2c@3/ar0234hawk_m@18";
			};
		};
		module13 {
			status = "okay";
			badge = "ar0234hawk_centerright";
			position = "centerright";
			orientation = "1";
			drivernode0 {
				status = "okay";
				pcl_id = "v4l2_sensor";
				devname = "ar0234hawk 33-0010";
				proc-device-tree = "/proc/device-tree/i2c@31e0000/tca9544@72/i2c@3/ar0234hawk_n@10";
			};
		};
		module14 {
			status = "okay";
			badge = "ar0234hawk_backleft";
			position = "backleft";
			orientation = "1";
			drivernode0 {
				status = "okay";
				pcl_id = "v4l2_sensor";
				devname = "ar0234hawk 33-0020";
				proc-device-tree = "/proc/device-tree/i2c@31e0000/tca9544@72/i2c@3/ar0234hawk_o@20";
			};
		};
		module15 {
			status = "okay";
			badge = "ar0234hawk_backright";
			position = "backright";
			orientation = "1";
			drivernode0 {
				status = "okay";
				pcl_id = "v4l2_sensor";
				devname = "ar0234hawk 33-0011";
				proc-device-tree = "/proc/device-tree/i2c@31e0000/tca9544@72/i2c@3/ar0234hawk_p@11";
			};
		};
        };
    };
};
